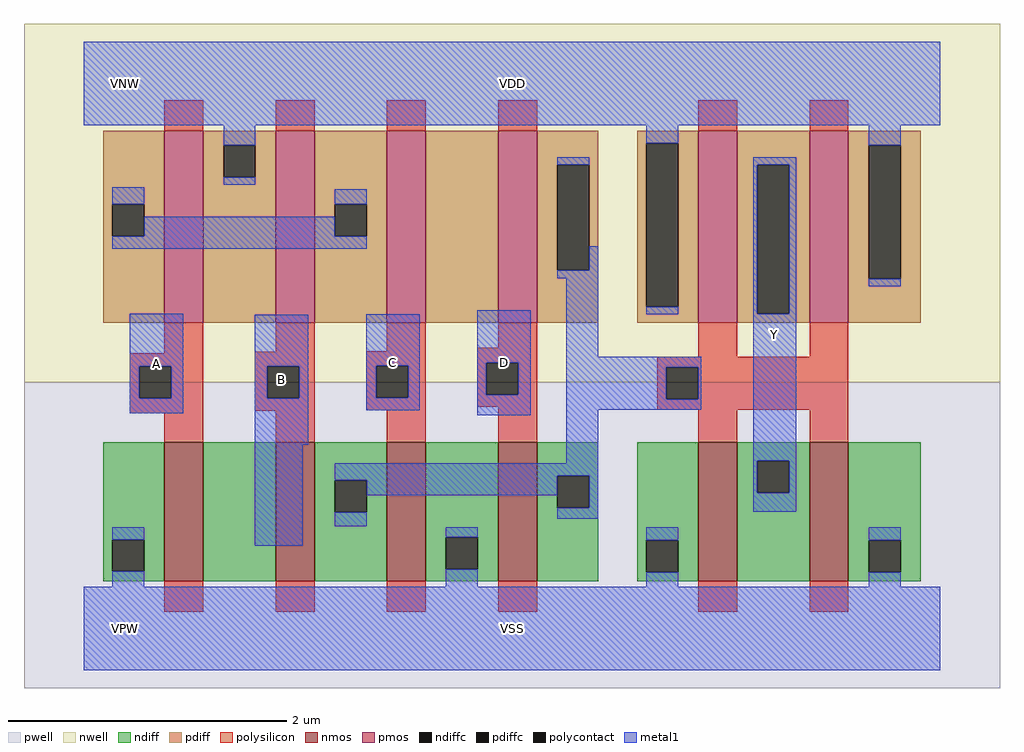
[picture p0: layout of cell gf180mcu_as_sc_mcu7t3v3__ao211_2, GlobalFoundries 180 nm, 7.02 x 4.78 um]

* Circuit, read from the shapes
.subckt gf180mcu_as_sc_mcu7t3v3__ao211_2 VDD VNW VPW VSS A B C D Y
XM1 n1 A VSS VPW nfet_03v3 w=1u l=0.28u
XM2 n2 B n1 VPW nfet_03v3 w=1u l=0.28u
XM3 VSS C n2 VPW nfet_03v3 w=1u l=0.28u
XM4 n2 D VSS VPW nfet_03v3 w=1u l=0.28u
XM5 Y n2 VSS VPW nfet_03v3 w=1u l=0.28u m=2
XM6 VDD A n3 VNW pfet_03v3 w=1.38u l=0.28u
XM7 n3 B VDD VNW pfet_03v3 w=1.38u l=0.28u
XM8 n4 C n3 VNW pfet_03v3 w=1.38u l=0.28u
XM9 n2 D n4 VNW pfet_03v3 w=1.38u l=0.28u
XM10 Y n2 VDD VNW pfet_03v3 w=1.38u l=0.28u m=2
.ends

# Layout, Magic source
magic
tech gf180mcuD
magscale 1 10
<< nwell >>
rect -86 354 1318 870
<< pwell >>
rect -86 -86 1318 354
<< nmos >>
rect 116 68 172 268
rect 276 68 332 268
rect 436 68 492 268
rect 596 68 652 268
rect 884 68 940 268
rect 1044 68 1100 268
<< pmos >>
rect 116 440 172 716
rect 276 440 332 716
rect 436 440 492 716
rect 596 440 652 716
rect 884 440 940 716
rect 1044 440 1100 716
<< ndiff >>
rect 28 128 116 268
rect 28 82 41 128
rect 87 82 116 128
rect 28 68 116 82
rect 172 68 276 268
rect 332 213 436 268
rect 332 167 361 213
rect 407 167 436 213
rect 332 68 436 167
rect 492 131 596 268
rect 492 85 521 131
rect 567 85 596 131
rect 492 68 596 85
rect 652 220 740 268
rect 652 174 681 220
rect 727 174 740 220
rect 652 68 740 174
rect 796 127 884 268
rect 796 81 809 127
rect 855 81 884 127
rect 796 68 884 81
rect 940 241 1044 268
rect 940 195 969 241
rect 1015 195 1044 241
rect 940 68 1044 195
rect 1100 127 1204 268
rect 1100 81 1129 127
rect 1175 81 1204 127
rect 1100 68 1204 81
<< pdiff >>
rect 28 610 116 716
rect 28 564 41 610
rect 87 564 116 610
rect 28 440 116 564
rect 172 695 276 716
rect 172 649 201 695
rect 247 649 276 695
rect 172 440 276 649
rect 332 610 436 716
rect 332 564 361 610
rect 407 564 436 610
rect 332 440 436 564
rect 492 440 596 716
rect 652 667 740 716
rect 652 515 681 667
rect 727 515 740 667
rect 652 440 740 515
rect 796 698 884 716
rect 796 463 809 698
rect 855 463 884 698
rect 796 440 884 463
rect 940 667 1044 716
rect 940 453 969 667
rect 1015 453 1044 667
rect 940 440 1044 453
rect 1100 695 1204 716
rect 1100 503 1129 695
rect 1175 503 1204 695
rect 1100 440 1204 503
<< ndiffc >>
rect 41 82 87 128
rect 361 167 407 213
rect 521 85 567 131
rect 681 174 727 220
rect 809 81 855 127
rect 969 195 1015 241
rect 1129 81 1175 127
<< pdiffc >>
rect 41 564 87 610
rect 201 649 247 695
rect 361 564 407 610
rect 681 515 727 667
rect 809 463 855 698
rect 969 453 1015 667
rect 1129 503 1175 695
<< polysilicon >>
rect 116 716 172 760
rect 276 716 332 760
rect 436 716 492 760
rect 596 716 652 760
rect 884 716 940 760
rect 1044 716 1100 760
rect 116 396 172 440
rect 276 398 332 440
rect 436 399 492 440
rect 596 404 652 440
rect 66 377 172 396
rect 66 331 80 377
rect 126 331 172 377
rect 66 310 172 331
rect 246 377 332 398
rect 246 331 264 377
rect 310 331 332 377
rect 246 313 332 331
rect 406 378 492 399
rect 406 332 421 378
rect 467 332 492 378
rect 406 314 492 332
rect 566 382 652 404
rect 884 391 940 440
rect 1044 391 1100 440
rect 566 336 579 382
rect 625 336 652 382
rect 566 319 652 336
rect 116 268 172 310
rect 276 268 332 313
rect 436 268 492 314
rect 596 268 652 319
rect 825 376 1100 391
rect 825 330 838 376
rect 884 330 1100 376
rect 825 315 1100 330
rect 884 268 940 315
rect 1044 268 1100 315
rect 116 24 172 68
rect 276 24 332 68
rect 436 24 492 68
rect 596 24 652 68
rect 884 24 940 68
rect 1044 24 1100 68
<< polycontact >>
rect 80 331 126 377
rect 264 331 310 377
rect 421 332 467 378
rect 579 336 625 382
rect 838 330 884 376
<< metal1 >>
rect 0 724 1232 844
rect 201 695 247 724
rect 809 698 855 724
rect 201 638 247 649
rect 681 667 727 678
rect 41 610 87 635
rect 361 610 407 632
rect 87 564 361 592
rect 41 546 407 564
rect 727 515 740 550
rect 681 504 740 515
rect 66 377 143 453
rect 66 331 80 377
rect 126 331 143 377
rect 66 310 143 331
rect 246 377 323 451
rect 246 331 264 377
rect 310 331 323 377
rect 246 264 323 331
rect 406 378 483 452
rect 406 332 421 378
rect 467 332 483 378
rect 406 314 483 332
rect 566 382 643 458
rect 566 336 579 382
rect 625 336 643 382
rect 566 307 643 336
rect 694 391 740 504
rect 1129 695 1175 724
rect 809 452 855 463
rect 963 667 1025 678
rect 963 453 969 667
rect 1015 453 1025 667
rect 1129 492 1175 503
rect 694 376 888 391
rect 694 330 838 376
rect 884 330 888 376
rect 694 315 888 330
rect 41 128 87 146
rect 246 119 315 264
rect 694 238 740 315
rect 361 220 740 238
rect 361 213 681 220
rect 407 192 681 213
rect 361 147 407 167
rect 727 174 740 220
rect 681 158 740 174
rect 963 241 1025 453
rect 963 195 969 241
rect 1015 195 1025 241
rect 963 168 1025 195
rect 521 131 567 146
rect 41 60 87 82
rect 521 60 567 85
rect 809 127 855 146
rect 809 60 855 81
rect 1129 127 1175 146
rect 1129 60 1175 81
rect 0 -60 1232 60
<< labels >>
flabel metal1 s 0 724 1232 844 0 FreeSans 400 0 0 0 VDD
port 1 nsew power bidirectional abutment
flabel metal1 s 0 -60 1232 60 0 FreeSans 400 0 0 0 VSS
port 4 nsew ground bidirectional abutment
flabel nwell s 10 734 110 834 0 FreeSans 400 0 0 0 VNW
port 2 nsew power bidirectional
flabel pwell s 10 -50 110 50 0 FreeSans 400 0 0 0 VPW
port 3 nsew ground bidirectional
flabel metal1 66 310 143 453 0 FreeSans 200 0 0 0 A
port 5 nsew signal input
flabel metal1 246 264 323 451 0 FreeSans 200 0 0 0 B
port 6 nsew signal input
flabel metal1 406 314 483 452 0 FreeSans 200 0 0 0 C
port 7 nsew signal input
flabel metal1 566 307 643 458 0 FreeSans 200 0 0 0 D
port 8 nsew signal input
flabel metal1 963 168 1025 678 0 FreeSans 200 0 0 0 Y
port 9 nsew signal output
<< properties >>
string FIXED_BBOX 0 0 1232 784
string LEFclass CORE
string LEFsite unithd
string LEFsymmetry X Y
string MASKHINTS_NPLUS -16 -46 1248 354
string MASKHINTS_PPLUS -16 354 1248 830
<< end >>
